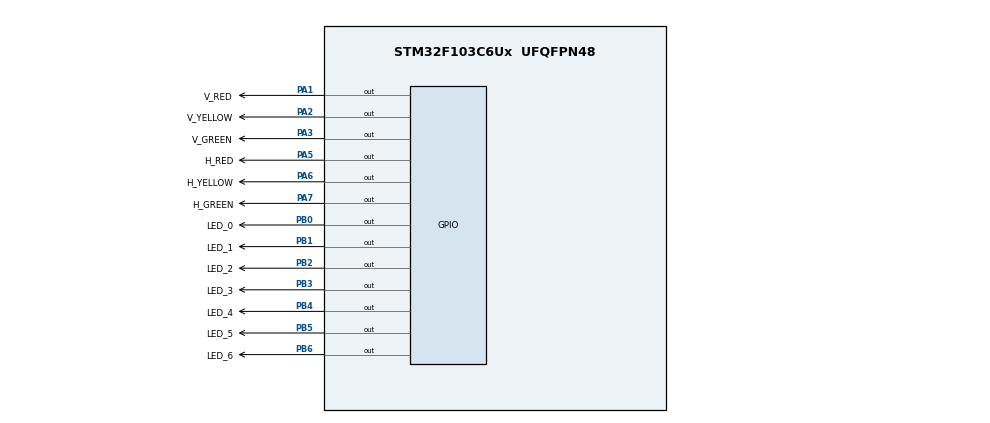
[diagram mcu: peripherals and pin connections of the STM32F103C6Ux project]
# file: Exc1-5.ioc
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Mcu.Family=STM32F1
Mcu.Name=STM32F103C6Ux
Mcu.Package=UFQFPN48
NVIC.PriorityGroup=NVIC_PRIORITYGROUP_4
PA1.GPIO_Label=V_RED
PA1.Signal=GPIO_Output
PA2.GPIO_Label=V_YELLOW
PA2.Signal=GPIO_Output
PA3.GPIO_Label=V_GREEN
PA3.Signal=GPIO_Output
PA5.GPIO_Label=H_RED
PA5.Signal=GPIO_Output
PA6.GPIO_Label=H_YELLOW
PA6.Signal=GPIO_Output
PA7.GPIO_Label=H_GREEN
PA7.Signal=GPIO_Output
PB0.GPIO_Label=LED_0
PB0.Signal=GPIO_Output
PB1.GPIO_Label=LED_1
PB1.Signal=GPIO_Output
PB2.GPIO_Label=LED_2
PB2.Signal=GPIO_Output
PB3.GPIO_Label=LED_3
PB3.Signal=GPIO_Output
PB4.GPIO_Label=LED_4
PB4.Signal=GPIO_Output
PB5.GPIO_Label=LED_5
PB5.Signal=GPIO_Output
PB6.GPIO_Label=LED_6
PB6.Signal=GPIO_Output
ProjectManager.HeapSize=0x200
ProjectManager.StackSize=0x400
ProjectManager.TargetToolchain=STM32CubeIDE
RCC.APB1Freq_Value=8000000
RCC.APB2Freq_Value=8000000
VP_SYS_VS_ND.Mode=No_Debug
board=custom

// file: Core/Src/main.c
/* USER CODE BEGIN Header */
/**
  ******************************************************************************
  * @file           : main.c
  * @brief          : Main program body
  ******************************************************************************
  * @attention
  *
  * <h2><center>&copy; Copyright (c) 2023 STMicroelectronics.
  * All rights reserved.</center></h2>
  *
  * This software component is licensed by ST under BSD 3-Clause license,
  * the "License"; You may not use this file except in compliance with the
  * License. You may obtain a copy of the License at:
  *                        opensource.org/licenses/BSD-3-Clause
  *
  ******************************************************************************
  */
/* USER CODE END Header */
#include "main.h"

/* USER CODE BEGIN PV */
void display7SEG(int counter) {
	  HAL_GPIO_WritePin(LED_0_GPIO_Port, LED_0_Pin, SET);
	  HAL_GPIO_WritePin(LED_1_GPIO_Port, LED_1_Pin, SET);
	  HAL_GPIO_WritePin(LED_2_GPIO_Port, LED_2_Pin, SET);
	  HAL_GPIO_WritePin(LED_3_GPIO_Port, LED_3_Pin, SET);
	  HAL_GPIO_WritePin(LED_4_GPIO_Port, LED_4_Pin, SET);
	  HAL_GPIO_WritePin(LED_5_GPIO_Port, LED_5_Pin, SET);
	  HAL_GPIO_WritePin(LED_6_GPIO_Port, LED_6_Pin, SET);
	switch (counter){
	case 0:
		HAL_GPIO_WritePin(LED_0_GPIO_Port, LED_0_Pin, RESET);
		HAL_GPIO_WritePin(LED_1_GPIO_Port, LED_1_Pin, RESET);
		HAL_GPIO_WritePin(LED_2_GPIO_Port, LED_2_Pin, RESET);
		HAL_GPIO_WritePin(LED_3_GPIO_Port, LED_3_Pin, RESET);
		HAL_GPIO_WritePin(LED_4_GPIO_Port, LED_4_Pin, RESET);
		HAL_GPIO_WritePin(LED_5_GPIO_Port, LED_5_Pin, RESET);
		break;
	case 1:
		HAL_GPIO_WritePin(LED_1_GPIO_Port, LED_1_Pin, RESET);
		HAL_GPIO_WritePin(LED_2_GPIO_Port, LED_2_Pin, RESET);
		break;
	case 2:
		HAL_GPIO_WritePin(LED_0_GPIO_Port, LED_0_Pin, RESET);
		HAL_GPIO_WritePin(LED_1_GPIO_Port, LED_1_Pin, RESET);
		HAL_GPIO_WritePin(LED_3_GPIO_Port, LED_3_Pin, RESET);
		HAL_GPIO_WritePin(LED_4_GPIO_Port, LED_4_Pin, RESET);
		HAL_GPIO_WritePin(LED_6_GPIO_Port, LED_6_Pin, RESET);
		break;
	case 3:
		HAL_GPIO_WritePin(LED_0_GPIO_Port, LED_0_Pin, RESET);
		HAL_GPIO_WritePin(LED_1_GPIO_Port, LED_1_Pin, RESET);
		HAL_GPIO_WritePin(LED_2_GPIO_Port, LED_2_Pin, RESET);
		HAL_GPIO_WritePin(LED_3_GPIO_Port, LED_3_Pin, RESET);
		HAL_GPIO_WritePin(LED_6_GPIO_Port, LED_6_Pin, RESET);
		break;
	case 4:
		HAL_GPIO_WritePin(LED_1_GPIO_Port, LED_1_Pin, RESET);
		HAL_GPIO_WritePin(LED_2_GPIO_Port, LED_2_Pin, RESET);
		HAL_GPIO_WritePin(LED_5_GPIO_Port, LED_5_Pin, RESET);
		HAL_GPIO_WritePin(LED_6_GPIO_Port, LED_6_Pin, RESET);
		break;
	case 5:
		HAL_GPIO_WritePin(LED_0_GPIO_Port, LED_0_Pin, RESET);
		HAL_GPIO_WritePin(LED_2_GPIO_Port, LED_2_Pin, RESET);
		HAL_GPIO_WritePin(LED_3_GPIO_Port, LED_3_Pin, RESET);
		HAL_GPIO_WritePin(LED_5_GPIO_Port, LED_5_Pin, RESET);
		HAL_GPIO_WritePin(LED_6_GPIO_Port, LED_6_Pin, RESET);
		break;
	case 6:
		HAL_GPIO_WritePin(LED_0_GPIO_Port, LED_0_Pin, RESET);
		HAL_GPIO_WritePin(LED_2_GPIO_Port, LED_2_Pin, RESET);
		HAL_GPIO_WritePin(LED_3_GPIO_Port, LED_3_Pin, RESET);
		HAL_GPIO_WritePin(LED_4_GPIO_Port, LED_4_Pin, RESET);
		HAL_GPIO_WritePin(LED_5_GPIO_Port, LED_5_Pin, RESET);
		HAL_GPIO_WritePin(LED_6_GPIO_Port, LED_6_Pin, RESET);
		break;
	case 7:
		HAL_GPIO_WritePin(LED_0_GPIO_Port, LED_0_Pin, RESET);
		HAL_GPIO_WritePin(LED_1_GPIO_Port, LED_1_Pin, RESET);
		HAL_GPIO_WritePin(LED_2_GPIO_Port, LED_2_Pin, RESET);
		break;
	case 8:
		HAL_GPIO_WritePin(LED_0_GPIO_Port, LED_0_Pin, RESET);
		HAL_GPIO_WritePin(LED_1_GPIO_Port, LED_1_Pin, RESET);
		HAL_GPIO_WritePin(LED_2_GPIO_Port, LED_2_Pin, RESET);
		HAL_GPIO_WritePin(LED_3_GPIO_Port, LED_3_Pin, RESET);
		HAL_GPIO_WritePin(LED_4_GPIO_Port, LED_4_Pin, RESET);
		HAL_GPIO_WritePin(LED_5_GPIO_Port, LED_5_Pin, RESET);
		HAL_GPIO_WritePin(LED_6_GPIO_Port, LED_6_Pin, RESET);
		break;
	case 9:
		HAL_GPIO_WritePin(LED_0_GPIO_Port, LED_0_Pin, RESET);
		HAL_GPIO_WritePin(LED_1_GPIO_Port, LED_1_Pin, RESET);
		HAL_GPIO_WritePin(LED_2_GPIO_Port, LED_2_Pin, RESET);
		HAL_GPIO_WritePin(LED_3_GPIO_Port, LED_3_Pin, RESET);
		HAL_GPIO_WritePin(LED_5_GPIO_Port, LED_5_Pin, RESET);
		HAL_GPIO_WritePin(LED_6_GPIO_Port, LED_6_Pin, RESET);
		break;
	}
};
/* USER CODE END PV */

void SystemClock_Config(void);
static void MX_GPIO_Init(void);

int main(void)
{

  /* MCU Configuration--------------------------------------------------------*/

  /* Reset of all peripherals, Initializes the Flash interface and the Systick. */
  HAL_Init();

  /* Configure the system clock */
  SystemClock_Config();

  /* Initialize all configured peripherals */
  MX_GPIO_Init();

  /* Infinite loop */
  /* USER CODE BEGIN WHILE */
  HAL_GPIO_WritePin(H_RED_GPIO_Port, H_RED_Pin, RESET);
    HAL_GPIO_WritePin(H_YELLOW_GPIO_Port, H_YELLOW_Pin, SET);
    HAL_GPIO_WritePin(H_GREEN_GPIO_Port, H_GREEN_Pin, RESET);
    HAL_GPIO_WritePin(V_RED_GPIO_Port, V_RED_Pin, SET);
    HAL_GPIO_WritePin(V_YELLOW_GPIO_Port, V_YELLOW_Pin, RESET);
    HAL_GPIO_WritePin(V_GREEN_GPIO_Port, V_GREEN_Pin, RESET);
    int counter = 0;
    while (1)
    {
  	  if(counter >= 10) counter = 0;
  	  switch (counter) {
  	  case 0:
  		  HAL_GPIO_TogglePin(H_YELLOW_GPIO_Port, H_YELLOW_Pin);
  		  HAL_GPIO_TogglePin(H_RED_GPIO_Port, H_RED_Pin);
  		  HAL_GPIO_TogglePin(V_RED_GPIO_Port, V_RED_Pin);
  		  HAL_GPIO_TogglePin(V_GREEN_GPIO_Port, V_GREEN_Pin);
  		  break;
  	  case 3:
  		  HAL_GPIO_TogglePin(V_GREEN_GPIO_Port, V_GREEN_Pin);
  		  HAL_GPIO_TogglePin(V_YELLOW_GPIO_Port, V_YELLOW_Pin);
  		  break;
  	  case 5:
  		  HAL_GPIO_TogglePin(V_YELLOW_GPIO_Port, V_YELLOW_Pin);
  		  HAL_GPIO_TogglePin(V_RED_GPIO_Port, V_RED_Pin);
  		  HAL_GPIO_TogglePin(H_RED_GPIO_Port, H_RED_Pin);
  		  HAL_GPIO_TogglePin(H_GREEN_GPIO_Port, H_GREEN_Pin);
  		  break;
  	  case 8:
  		  HAL_GPIO_TogglePin(H_GREEN_GPIO_Port, H_GREEN_Pin);
  		  HAL_GPIO_TogglePin(H_YELLOW_GPIO_Port, H_YELLOW_Pin);
  		  break;
  	  default:
  		  break;
  	  }
  	  display7SEG(counter++);
  	  HAL_Delay(1000);
    /* USER CODE END WHILE */

  }
}

void SystemClock_Config(void)
{
  RCC_OscInitTypeDef RCC_OscInitStruct = {0};
  RCC_ClkInitTypeDef RCC_ClkInitStruct = {0};

  /** Initializes the RCC Oscillators according to the specified parameters
  * in the RCC_OscInitTypeDef structure.
  */
  RCC_OscInitStruct.OscillatorType = RCC_OSCILLATORTYPE_HSI;
  RCC_OscInitStruct.HSIState = RCC_HSI_ON;
  RCC_OscInitStruct.HSICalibrationValue = RCC_HSICALIBRATION_DEFAULT;
  RCC_OscInitStruct.PLL.PLLState = RCC_PLL_NONE;
  if (HAL_RCC_OscConfig(&RCC_OscInitStruct) != HAL_OK)
  {
    Error_Handler();
  }
  /** Initializes the CPU, AHB and APB buses clocks
  */
  RCC_ClkInitStruct.ClockType = RCC_CLOCKTYPE_HCLK|RCC_CLOCKTYPE_SYSCLK
                              |RCC_CLOCKTYPE_PCLK1|RCC_CLOCKTYPE_PCLK2;
  RCC_ClkInitStruct.SYSCLKSource = RCC_SYSCLKSOURCE_HSI;
  RCC_ClkInitStruct.AHBCLKDivider = RCC_SYSCLK_DIV1;
  RCC_ClkInitStruct.APB1CLKDivider = RCC_HCLK_DIV1;
  RCC_ClkInitStruct.APB2CLKDivider = RCC_HCLK_DIV1;

  if (HAL_RCC_ClockConfig(&RCC_ClkInitStruct, FLASH_LATENCY_0) != HAL_OK)
  {
    Error_Handler();
  }
}

static void MX_GPIO_Init(void)
{
  GPIO_InitTypeDef GPIO_InitStruct = {0};

  /* GPIO Ports Clock Enable */
  __HAL_RCC_GPIOA_CLK_ENABLE();
  __HAL_RCC_GPIOB_CLK_ENABLE();

  /*Configure GPIO pin Output Level */
  HAL_GPIO_WritePin(GPIOA, V_RED_Pin|V_YELLOW_Pin|V_GREEN_Pin|H_RED_Pin
                          |H_YELLOW_Pin|H_GREEN_Pin, GPIO_PIN_RESET);

  /*Configure GPIO pin Output Level */
  HAL_GPIO_WritePin(GPIOB, LED_0_Pin|LED_1_Pin|LED_2_Pin|LED_3_Pin
                          |LED_4_Pin|LED_5_Pin|LED_6_Pin, GPIO_PIN_RESET);

  /*Configure GPIO pins : V_RED_Pin V_YELLOW_Pin V_GREEN_Pin H_RED_Pin
                           H_YELLOW_Pin H_GREEN_Pin */
  GPIO_InitStruct.Pin = V_RED_Pin|V_YELLOW_Pin|V_GREEN_Pin|H_RED_Pin
                          |H_YELLOW_Pin|H_GREEN_Pin;
  GPIO_InitStruct.Mode = GPIO_MODE_OUTPUT_PP;
  GPIO_InitStruct.Pull = GPIO_NOPULL;
  GPIO_InitStruct.Speed = GPIO_SPEED_FREQ_LOW;
  HAL_GPIO_Init(GPIOA, &GPIO_InitStruct);

  /*Configure GPIO pins : LED_0_Pin LED_1_Pin LED_2_Pin LED_3_Pin
                           LED_4_Pin LED_5_Pin LED_6_Pin */
  GPIO_InitStruct.Pin = LED_0_Pin|LED_1_Pin|LED_2_Pin|LED_3_Pin
                          |LED_4_Pin|LED_5_Pin|LED_6_Pin;
  GPIO_InitStruct.Mode = GPIO_MODE_OUTPUT_PP;
  GPIO_InitStruct.Pull = GPIO_NOPULL;
  GPIO_InitStruct.Speed = GPIO_SPEED_FREQ_LOW;
  HAL_GPIO_Init(GPIOB, &GPIO_InitStruct);

}

void Error_Handler(void)
{
  __disable_irq();
  while (1)
  {
  }
}

/************************ (C) COPYRIGHT STMicroelectronics *****END OF FILE****/
